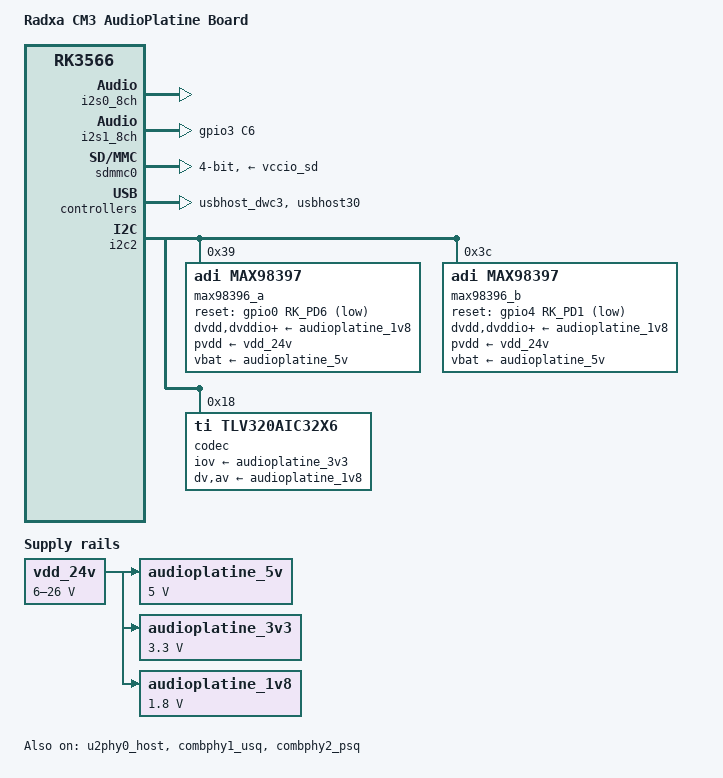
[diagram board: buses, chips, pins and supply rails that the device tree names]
// SPDX-License-Identifier: (GPL-2.0+ OR MIT)
/*
 * Copyright (c) 2020 Rockchip Electronics Co., Ltd.
 * Copyright (c) 2022 Radxa Limited.
 *
 */

/dts-v1/;

#include "rk3566-radxa-cm3.dtsi"

/ {
	model = "Radxa CM3 AudioPlatine Board";
	compatible = "radxa,cm3-io", "radxa,cm3", "rockchip,rk3566";

	vdd_24v: vdd-24v-input {
		compatible = "regulator-fixed";
		regulator-name = "vdd_24v_input";
		regulator-always-on;
		regulator-boot-on;
		regulator-min-microvolt = <6000000>;
		regulator-max-microvolt = <26000000>;
	};

	audioplatine_5v: 5v-regulator {
		compatible = "regulator-fixed";
		regulator-name = "audioplatine_5v";
		regulator-always-on;
		regulator-boot-on;
		regulator-min-microvolt = <5000000>;
		regulator-max-microvolt = <5000000>;
		vin-supply = <&vdd_24v>;
	};

	audioplatine_3v3: 3v3-regulator-baseboard {
		compatible = "regulator-fixed";
		regulator-name = "audioplatine_3v3";
		regulator-always-on;
		regulator-boot-on;
		regulator-min-microvolt = <3300000>;
		regulator-max-microvolt = <3300000>;
		vin-supply = <&vdd_24v>;
	};

	audioplatine_1v8: 1v8-regulator-baseboard {
		compatible = "regulator-fixed";
		regulator-name = "audioplatine_1v8";
		regulator-always-on;
		regulator-boot-on;
		regulator-min-microvolt = <1800000>;
		regulator-max-microvolt = <1800000>;
		vin-supply = <&vdd_24v>;
	};

	sound_i2s1 {
		compatible = "simple-audio-card";
		simple-audio-card,name = "PCM5102a I2S1-M1";
		simple-audio-card,format = "i2s";
		simple-audio-card,mclk-fs = <64>;
		simple-audio-card,frame-master = <&cpu_master>;
		simple-audio-card,bitclock-master = <&cpu_master>;
		status = "okay";

		cpu_master: simple-audio-card,cpu {
				sound-dai = <&i2s1_8ch>;
		};
		simple-audio-card,codec {
				sound-dai = <&pcm5102a>;
		};
	};

	pcm5102a: pcm5102a {
		compatible = "ti,pcm5102a";
		#sound-dai-cells = <0>;
	};

};

&gpio_leds {
	pi-led-green {
		gpios = <&gpio4 4 GPIO_ACTIVE_LOW>;
		linux,default-trigger = "heartbeat";
		default-state = "on";
		pinctrl-0 = <&pi_led>;
	};

	pwr-led-red {
		gpios = <&gpio4 15 GPIO_ACTIVE_LOW>;
		linux,default-trigger = "default-on";
		pinctrl-0 = <&pwr_led>;
	};
};

&i2s0_8ch {
	status = "okay";
};

&i2s1_8ch {
    rockchip,clk-trcm = <1>;
    rockchip,bclk-fs = <64>;
    pinctrl-0 = <&i2s1m1_sclktx
				&i2s1m1_lrcktx
				&i2s1m1_sdi0
				&i2s1m1_sdo0
				&i2s1m1_mclk>;
    status = "okay";
};

&sdmmc0 {
	status = "okay";
	bus-width = <4>;

	vmmc-supply = <&vccio_sd>;
	vqmmc-supply = <&vccio_sd>;
	no-1-8-v;

	//max-frequency = <25000000>;
	max-frequency = <50000000>; 
	cap-sd-highspeed;
	/delete-property/ sd-uhs-sdr104;
	/delete-property/ sd-uhs-sdr50;
    /delete-property/ sd-uhs-sdr25;
    /delete-property/ sd-uhs-ddr50;

	//supports-sd;
	//cap-mmc-highspeed;
	//sd-uhs-sdr104;
	disable-wp;
	pinctrl-names = "default";
	pinctrl-0 = <&sdmmc0_bus4 &sdmmc0_clk &sdmmc0_cmd &sdmmc0_det>;
};

&u2phy0_host {
	// phy-supply = <&vcc5v0_usb30>;
	status = "okay";
};

&usbhost_dwc3 {
	status = "okay";
};

&usbhost30 {
	status = "okay";
};

&combphy1_usq {
	status = "okay";
};

&combphy2_psq {
	status = "okay";
};


&i2c2 {
	status = "okay";
	pinctrl-names = "default";
	pinctrl-0 = <&i2c2m0_xfer>;

	#address-cells = <1>;
	#size-cells = <0>;

	max98396_a: amplifier@39 {
		compatible = "adi,max98397";
		reg = <0x39>;

		adi,vmon-slot-no = <0>;
		adi,imon-slot-no = <1>;
		adi,bypass-slot-no = <0>;

		pinctrl-names = "default";
		pinctrl-0 = <&max98396_a_reset>;
		reset-gpios = <&gpio0 RK_PD6 GPIO_ACTIVE_LOW>;

		dvdd-supply = <&audioplatine_1v8>;
		dvddio-supply = <&audioplatine_1v8>;
		avdd-supply = <&audioplatine_1v8>;
		pvdd-supply = <&vdd_24v>;
		vbat-supply = <&audioplatine_5v>;
	};

	max98396_b: amplifier@3c {
		compatible = "adi,max98397";
		reg = <0x3C>;

		adi,vmon-slot-no = <2>;
		adi,imon-slot-no = <3>;
		adi,bypass-slot-no = <1>;
		
		pinctrl-names = "default";
		pinctrl-0 = <&max98396_b_reset>;
		reset-gpios = <&gpio4 RK_PD1 GPIO_ACTIVE_LOW>;

		dvdd-supply = <&audioplatine_1v8>;
		dvddio-supply = <&audioplatine_1v8>;
		avdd-supply = <&audioplatine_1v8>;
		pvdd-supply = <&vdd_24v>;
		vbat-supply = <&audioplatine_5v>;
	};

	codec: tlv320aic32x6@18 {
	compatible = "ti,tlv320aic32x6";
	reg = <0x18>;
	//clocks = <&clks 201>;
	//clock-names = "mclk";
	iov-supply = <&audioplatine_3v3>;
	dv-supply = <&audioplatine_1v8>;
	av-supply = <&audioplatine_1v8>;
	aic32x4-gpio-func= <
			0xff /* AIC32X4_MFPX_DEFAULT_VALUE */
			0xff /* AIC32X4_MFPX_DEFAULT_VALUE */
			0x04 /* MFP3 AIC32X4_MFP3_GPIO_ENABLED */
			0xff /* AIC32X4_MFPX_DEFAULT_VALUE */
			0x08 /* MFP5 AIC32X4_MFP5_GPIO_INPUT */
		>;
	};
};

&rk817 {
	rtc {
		status = "disabled";
	};
};

&soc_thermal {
	sustainable-power = <5000>; /* milliwatts */
	cooling-maps {
		map2 {
			trip = <&target>;
			contribution = <8192>;
		};
		map3 {
			trip = <&threshold>;
			contribution = <8192>;
		};
	};
};

&threshold {
	temperature = <60000>;
};

&pinctrl {
	i2s1 {
		i2s1m1_mclk: i2s1m1-mclk {
			rockchip,pins = <3 RK_PC6 4 &pcfg_pull_none>;
		};
	};

	leds {
		pi_led: pi-led{
			rockchip,pins = <4 RK_PA4 RK_FUNC_GPIO &pcfg_pull_none>;
		};

		pwr_led: pwr-led{
			rockchip,pins = <4 RK_PB7 RK_FUNC_GPIO &pcfg_pull_none>;
		};
	};

	sdcard {
		sdmmc_pwren: sdmmc-pwren {
			rockchip,pins = <0 RK_PA5 RK_FUNC_GPIO &pcfg_pull_none>;
		};

		/*tf_det_en: tf-det-en {
			rockchip,pins = <0 RK_PD4 RK_FUNC_GPIO &pcfg_output_low>;
		};*/
	};

	max98396 {
		max98396_a_reset: max98396-a-reset {
			rockchip,pins = <0 RK_PD6 RK_FUNC_GPIO &pcfg_pull_none>;
		};

		max98396_b_reset: max98396-b-reset {
			rockchip,pins = <4 RK_PD1 RK_FUNC_GPIO &pcfg_pull_none>;
		};
	};
};

&gpio0 {
	gpio-line-names =
		/* GPIO0_A0-A3 */
		"", "", "", "",
		/* GPIO0_A4-A7 */
		"", "", "", "",

		/* GPIO0_B0-B3 */
		"", "", "", "",
		/* GPIO0_B4-B7 */
		"", "PIN_5", "PIN_3", "PIN_13",

		/* GPIO0_C0-C3 */
		"", "", "PIN_37", "PIN_15",
		/* GPIO0_C4-C7 */
		"", "PIN_31", "PIN_33", "PIN_11",

		/* GPIO0_D0-D3 */
		"PIN_10", "PIN_8", "", "",
		/* GPIO0_D4-D7 */
		"", "", "", "";
};

&gpio1 {
	gpio-line-names =
		/* GPIO1_A0-A3 */
		"", "", "", "",
		/* GPIO1_A4-A7 */
		"", "", "", "",

		/* GPIO1_B0-B3 */
		"", "", "", "",
		/* GPIO1_B4-B7 */
		"", "", "", "",

		/* GPIO1_C0-C3 */
		"", "", "", "",
		/* GPIO1_C4-C7 */
		"", "", "", "",

		/* GPIO1_D0-D3 */
		"", "", "", "",
		/* GPIO1_D4-D7 */
		"", "", "", "";
};

&gpio2 {
	gpio-line-names =
		/* GPIO2_A0-A3 */
		"", "", "", "",
		/* GPIO2_A4-A7 */
		"", "", "", "",

		/* GPIO2_B0-B3 */
		"", "", "", "",
		/* GPIO2_B4-B7 */
		"", "", "", "",

		/* GPIO2_C0-C3 */
		"", "", "", "",
		/* GPIO2_C4-C7 */
		"", "", "", "",

		/* GPIO2_D0-D3 */
		"", "", "", "",
		/* GPIO2_D4-D7 */
		"", "", "", "";
};

&gpio3 {
	gpio-line-names =
		/* GPIO3_A0-A3 */
		"", "", "", "",
		/* GPIO3_A4-A7 */
		"", "", "", "",

		/* GPIO3_B0-B3 */
		"", "", "", "",
		/* GPIO3_B4-B7 */
		"", "", "", "",

		/* GPIO3_C0-C3 */
		"", "", "", "",
		/* GPIO3_C4-C7 */
		"", "", "PIN_22", "PIN_12",

		/* GPIO3_D0-D3 */
		"PIN_35", "PIN_40", "PIN_38", "PIN_18",
		/* GPIO3_D4-D7 */
		"PIN_16", "PIN_7", "", "";
};

&gpio4 {
	gpio-line-names =
		/* GPIO4_A0-A3 */
		"", "", "", "",
		/* GPIO4_A4-A7 */
		"", "", "PIN_24", "PIN_36",

		/* GPIO4_B0-B3 */
		"PIN_21", "PIN_29", "PIN_19", "PIN_23",
		/* GPIO4_B4-B7 */
		"PIN_27", "PIN_28", "", "",

		/* GPIO4_C0-C3 */
		"PIN_32", "", "", "",
		/* GPIO4_C4-C7 */
		"", "", "", "",

		/* GPIO4_D0-D3 */
		"", "", "", "",
		/* GPIO4_D4-D7 */
		"", "", "", "";
};
